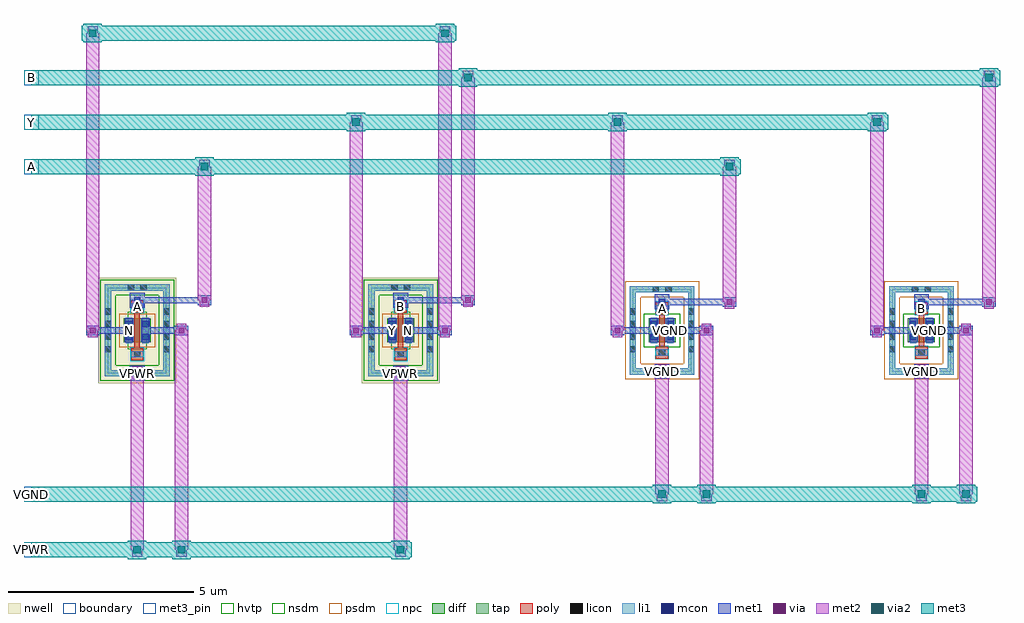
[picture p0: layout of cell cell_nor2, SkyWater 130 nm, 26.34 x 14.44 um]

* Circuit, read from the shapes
.subckt cell_nor2 A B N VGND VPWR Y
XM1 VGND A Y VGND sky130_fd_pr__nfet_01v8 w=0.65 l=0.15
XM2 VGND B Y VGND sky130_fd_pr__nfet_01v8 w=0.65 l=0.15
XM3 VPWR A N VPWR sky130_fd_pr__pfet_01v8_hvt w=0.65 l=0.15
XM4 N B Y VPWR sky130_fd_pr__pfet_01v8_hvt w=0.65 l=0.15
.ends

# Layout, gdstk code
import gdstk
lib = gdstk.Library(unit=1e-6, precision=1e-09)
def R(c, l, rs):  # rectangles x0, y0, x1, y1
    for r in rs: c.add(gdstk.rectangle(r[:2], r[2:], *l))
def A(c, l, x, y, w, h, nx, ny, dx, dy):  # array of equal rectangles
    R(c, l, [(x+i*dx, y+j*dy, x+i*dx+w, y+j*dy+h) for i in range(nx) for j in range(ny)])
nwell = (64, 20)
diff = (65, 20)
tap = (65, 44)
poly = (66, 20)
licon = (66, 44)
li1 = (67, 20)
mcon = (67, 44)
met1 = (68, 20)
via = (68, 44)
met2 = (69, 20)
via2 = (69, 44)
met3_pin = (70, 16)
met3 = (70, 20)
hvtp = (78, 44)
nsdm = (93, 44)
psdm = (94, 20)
npc = (95, 20)
boundary = (235, 4)

cell_nor2 = lib.new_cell('cell_nor2')
R(cell_nor2, nwell, [(0,-1.42,2.11,1.42), (7.11,-1.42,9.22,1.42)])
R(cell_nor2, diff, [(0.69,-0.325,1.42,0.325), (7.8,-0.325,8.53,0.325), (14.855,-0.325,15.585,0.325), (21.855,-0.325,22.585,0.325)])
R(cell_nor2, tap, [(0.18,-1.24,1.93,-1.07), (7.29,-1.24,9.04,-1.07), (14.345,-1.195,16.095,-1.025), (21.345,-1.195,23.095,-1.025), (0.18,-1.07,0.35,1.07), (1.76,-1.07,1.93,1.07), (7.29,-1.07,7.46,1.07), (8.87,-1.07,9.04,1.07), (14.345,-1.025,14.515,1.025), (15.925,-1.025,16.095,1.025), (21.345,-1.025,21.515,1.025), (22.925,-1.025,23.095,1.025), (14.345,1.025,16.095,1.195), (21.345,1.025,23.095,1.195), (0.18,1.07,1.93,1.24), (7.29,1.07,9.04,1.24)])
R(cell_nor2, poly, [(0.89,-0.81,1.22,-0.48), (8,-0.81,8.33,-0.48), (15.055,-0.765,15.385,-0.435), (22.055,-0.765,22.385,-0.435), (0.98,-0.48,1.13,0.48), (8.09,-0.48,8.24,0.48), (15.145,-0.435,15.295,0.435), (22.145,-0.435,22.295,0.435), (15.055,0.435,15.385,0.765), (22.055,0.435,22.385,0.765), (0.89,0.48,1.22,0.81), (8,0.48,8.33,0.81)])
A(cell_nor2, licon, 0.18, -0.595, 0.17, 0.17, 1, 4, 0, 0.34)
A(cell_nor2, licon, 1.76, -0.595, 0.17, 0.17, 1, 4, 0, 0.34)
A(cell_nor2, licon, 7.29, -0.595, 0.17, 0.17, 1, 4, 0, 0.34)
A(cell_nor2, licon, 8.87, -0.595, 0.17, 0.17, 1, 4, 0, 0.34)
A(cell_nor2, licon, 14.345, -0.595, 0.17, 0.17, 1, 4, 0, 0.34)
A(cell_nor2, licon, 15.925, -0.595, 0.17, 0.17, 1, 4, 0, 0.34)
A(cell_nor2, licon, 21.345, -0.595, 0.17, 0.17, 1, 4, 0, 0.34)
A(cell_nor2, licon, 22.925, -0.595, 0.17, 0.17, 1, 4, 0, 0.34)
R(cell_nor2, licon, [(0.8,-1.24,0.97,-1.07), (1.14,-1.24,1.31,-1.07), (7.91,-1.24,8.08,-1.07), (8.25,-1.24,8.42,-1.07), (14.965,-1.195,15.135,-1.025), (15.305,-1.195,15.475,-1.025), (21.965,-1.195,22.135,-1.025), (22.305,-1.195,22.475,-1.025), (0.97,-0.73,1.14,-0.56), (8.08,-0.73,8.25,-0.56), (15.135,-0.685,15.305,-0.515), (22.135,-0.685,22.305,-0.515), (0.75,-0.255,0.92,-0.085), (1.19,-0.255,1.36,-0.085), (7.86,-0.255,8.03,-0.085), (8.3,-0.255,8.47,-0.085), (14.915,-0.255,15.085,-0.085), (15.355,-0.255,15.525,-0.085), (21.915,-0.255,22.085,-0.085), (22.355,-0.255,22.525,-0.085), (0.75,0.085,0.92,0.255), (1.19,0.085,1.36,0.255), (7.86,0.085,8.03,0.255), (8.3,0.085,8.47,0.255), (14.915,0.085,15.085,0.255), (15.355,0.085,15.525,0.255), (21.915,0.085,22.085,0.255), (22.355,0.085,22.525,0.255), (15.135,0.515,15.305,0.685), (22.135,0.515,22.305,0.685), (0.97,0.56,1.14,0.73), (8.08,0.56,8.25,0.73), (14.965,1.025,15.135,1.195), (15.305,1.025,15.475,1.195), (21.965,1.025,22.135,1.195), (22.305,1.025,22.475,1.195), (0.8,1.07,0.97,1.24), (1.14,1.07,1.31,1.24), (7.91,1.07,8.08,1.24), (8.25,1.07,8.42,1.24)])
R(cell_nor2, li1, [(0.18,-1.24,1.93,-1.07), (7.29,-1.24,9.04,-1.07), (14.345,-1.195,16.095,-1.025), (21.345,-1.195,23.095,-1.025), (0.18,-1.07,0.35,1.07), (1.76,-1.07,1.93,1.07), (7.29,-1.07,7.46,1.07), (8.87,-1.07,9.04,1.07), (14.345,-1.025,14.515,1.025), (15.925,-1.025,16.095,1.025), (21.345,-1.025,21.515,1.025), (22.925,-1.025,23.095,1.025), (0.89,-0.73,1.22,-0.56), (8,-0.73,8.33,-0.56), (15.055,-0.685,15.385,-0.515), (22.055,-0.685,22.385,-0.515), (0.75,-0.345,0.92,0.345), (1.19,-0.345,1.36,0.345), (7.86,-0.345,8.03,0.345), (8.3,-0.345,8.47,0.345), (14.915,-0.345,15.085,0.345), (15.355,-0.345,15.525,0.345), (21.915,-0.345,22.085,0.345), (22.355,-0.345,22.525,0.345), (15.055,0.515,15.385,0.685), (15.135,0.515,15.305,0.855), (22.055,0.515,22.385,0.685), (22.135,0.515,22.305,0.855), (0.89,0.56,1.22,0.73), (0.97,0.56,1.14,0.9), (8,0.56,8.33,0.73), (8.08,0.56,8.25,0.9), (14.345,1.025,16.095,1.195), (21.345,1.025,23.095,1.195), (0.18,1.07,1.93,1.24), (7.29,1.07,9.04,1.24)])
R(cell_nor2, mcon, [(0.97,-1.24,1.14,-1.07), (8.08,-1.24,8.25,-1.07), (15.135,-1.195,15.305,-1.025), (22.135,-1.195,22.305,-1.025), (0.75,-0.265,0.92,-0.095), (1.19,-0.265,1.36,-0.095), (7.86,-0.265,8.03,-0.095), (8.3,-0.265,8.47,-0.095), (14.915,-0.265,15.085,-0.095), (15.355,-0.265,15.525,-0.095), (21.915,-0.265,22.085,-0.095), (22.355,-0.265,22.525,-0.095), (0.75,0.095,0.92,0.265), (1.19,0.095,1.36,0.265), (7.86,0.095,8.03,0.265), (8.3,0.095,8.47,0.265), (14.915,0.095,15.085,0.265), (15.355,0.095,15.525,0.265), (21.915,0.095,22.085,0.265), (22.355,0.095,22.525,0.265), (15.135,0.685,15.305,0.855), (22.135,0.685,22.305,0.855), (0.97,0.73,1.14,0.9), (8.08,0.73,8.25,0.9)])
R(cell_nor2, met1, [(0.855,-1.355,1.255,-0.955), (7.965,-1.355,8.365,-0.955), (15.02,-1.31,15.42,-0.91), (22.02,-1.31,22.42,-0.91), (0.875,-1.285,1.235,-1.025), (7.985,-1.285,8.345,-1.025), (15.04,-1.24,15.4,-0.98), (22.04,-1.24,22.4,-0.98), (0.72,-0.325,0.95,0.325), (1.16,-0.325,1.39,0.325), (7.83,-0.325,8.06,0.325), (8.27,-0.325,8.5,0.325), (14.885,-0.325,15.115,0.325), (15.325,-0.325,15.555,0.325), (21.885,-0.325,22.115,0.325), (22.325,-0.325,22.555,0.325), (-0.325,-0.13,0.035,0.13), (2.075,-0.13,2.435,0.13), (6.785,-0.13,7.145,0.13), (9.185,-0.13,9.545,0.13), (13.84,-0.13,14.2,0.13), (16.24,-0.13,16.6,0.13), (20.84,-0.13,21.2,0.13), (23.24,-0.13,23.6,0.13), (15.02,0.57,15.42,0.97), (22.02,0.57,22.42,0.97), (0.855,0.615,1.255,1.015), (7.965,0.615,8.365,1.015), (16.86,0.64,17.22,0.9), (23.86,0.64,24.22,0.9), (2.695,0.685,3.055,0.945), (9.805,0.685,10.165,0.945)])
R(cell_nor2, via, [(0.98,-1.23,1.13,-1.08), (8.09,-1.23,8.24,-1.08), (15.145,-1.185,15.295,-1.035), (22.145,-1.185,22.295,-1.035), (-0.22,-0.075,-0.07,0.075), (2.18,-0.075,2.33,0.075), (6.89,-0.075,7.04,0.075), (9.29,-0.075,9.44,0.075), (13.945,-0.075,14.095,0.075), (16.345,-0.075,16.495,0.075), (20.945,-0.075,21.095,0.075), (23.345,-0.075,23.495,0.075), (16.965,0.695,17.115,0.845), (23.965,0.695,24.115,0.845), (2.8,0.74,2.95,0.89), (9.91,0.74,10.06,0.89)])
R(cell_nor2, met2, [(0.915,-6.11,1.195,-5.73), (2.115,-6.11,2.395,-5.73), (8.025,-6.11,8.305,-5.73), (15.08,-4.61,15.36,-4.23), (16.28,-4.61,16.56,-4.23), (22.08,-4.61,22.36,-4.23), (23.28,-4.61,23.56,-4.23), (0.925,-1.335,1.185,-0.975), (8.035,-1.335,8.295,-0.975), (15.09,-1.29,15.35,-0.93), (22.09,-1.29,22.35,-0.93), (-0.275,-0.18,-0.015,0.18), (2.125,-0.18,2.385,0.18), (6.835,-0.18,7.095,0.18), (9.235,-0.18,9.495,0.18), (13.89,-0.18,14.15,0.18), (16.29,-0.18,16.55,0.18), (20.89,-0.18,21.15,0.18), (23.29,-0.18,23.55,0.18), (16.91,0.59,17.17,0.95), (23.91,0.59,24.17,0.95), (2.745,0.635,3.005,0.995), (9.855,0.635,10.115,0.995), (2.735,4.23,3.015,4.61), (16.9,4.23,17.18,4.61), (6.825,5.43,7.105,5.81), (13.88,5.43,14.16,5.81), (20.88,5.43,21.16,5.81), (9.845,6.63,10.125,7.01), (23.9,6.63,24.18,7.01), (-0.285,7.83,-0.005,8.21), (9.225,7.83,9.505,8.21)])
R(cell_nor2, via2, [(0.955,-6.02,1.155,-5.82), (2.155,-6.02,2.355,-5.82), (8.065,-6.02,8.265,-5.82), (15.12,-4.52,15.32,-4.32), (16.32,-4.52,16.52,-4.32), (22.12,-4.52,22.32,-4.32), (23.32,-4.52,23.52,-4.32), (2.775,4.32,2.975,4.52), (16.94,4.32,17.14,4.52), (6.865,5.52,7.065,5.72), (13.92,5.52,14.12,5.72), (20.92,5.52,21.12,5.72), (9.885,6.72,10.085,6.92), (23.94,6.72,24.14,6.92), (-0.245,7.92,-0.045,8.12), (9.265,7.92,9.465,8.12)])
A(cell_nor2, met3_pin, -2, 4.22, 0.4, 0.4, 1, 3, 0, 1.2)
R(cell_nor2, met3_pin, [(-2,-6.12,-1.6,-5.72), (-2,-4.62,-1.6,-4.22)])
R(cell_nor2, met3, [(0.805,-6.17,1.305,-5.67), (2.005,-6.17,2.505,-5.67), (7.915,-6.17,8.415,-5.67), (14.97,-4.67,15.47,-4.17), (16.17,-4.67,16.67,-4.17), (21.97,-4.67,22.47,-4.17), (23.17,-4.67,23.67,-4.17), (2.625,4.17,3.125,4.67), (16.79,4.17,17.29,4.67), (6.715,5.37,7.215,5.87), (13.77,5.37,14.27,5.87), (20.77,5.37,21.27,5.87), (9.735,6.57,10.235,7.07), (23.79,6.57,24.29,7.07), (-0.395,7.77,0.105,8.27), (9.115,7.77,9.615,8.27)])
R(cell_nor2, hvtp, [(0.8,-0.505,1.31,0.505), (7.91,-0.505,8.42,0.505)])
R(cell_nor2, nsdm, [(0.055,-1.365,2.055,-0.945), (7.165,-1.365,9.165,-0.945), (0.055,-0.945,0.475,0.945), (1.635,-0.945,2.055,0.945), (7.165,-0.945,7.585,0.945), (8.745,-0.945,9.165,0.945), (14.73,-0.45,15.71,0.45), (21.73,-0.45,22.71,0.45), (0.055,0.945,2.055,1.365), (7.165,0.945,9.165,1.365)])
R(cell_nor2, psdm, [(14.22,-1.32,16.22,-0.9), (21.22,-1.32,23.22,-0.9), (14.22,-0.9,14.64,0.9), (15.8,-0.9,16.22,0.9), (21.22,-0.9,21.64,0.9), (22.8,-0.9,23.22,0.9), (0.565,-0.45,1.545,0.45), (7.675,-0.45,8.655,0.45), (14.22,0.9,16.22,1.32), (21.22,0.9,23.22,1.32)])
R(cell_nor2, npc, [(0.87,-0.83,1.24,-0.46), (7.98,-0.83,8.35,-0.46), (15.035,-0.785,15.405,-0.415), (22.035,-0.785,22.405,-0.415), (15.035,0.415,15.405,0.785), (22.035,0.415,22.405,0.785), (0.87,0.46,1.24,0.83), (7.98,0.46,8.35,0.83)])
R(cell_nor2, boundary, [(0.265,-1.155,1.845,1.155), (7.375,-1.155,8.955,1.155), (14.43,-1.11,16.01,1.11), (21.43,-1.11,23.01,1.11)])
cell_nor2.add(gdstk.FlexPath([(22,0),(21.02,0)], 0.17, ends="flush", simple_path=True, layer=68, datatype=20))  # met1
cell_nor2.add(gdstk.FlexPath([(15.44,0),(16.42,0)], 0.17, ends="flush", simple_path=True, layer=68, datatype=20))  # met1
cell_nor2.add(gdstk.FlexPath([(1.055,0.815),(2.875,0.815)], 0.17, ends="flush", simple_path=True, layer=68, datatype=20))  # met1
cell_nor2.add(gdstk.FlexPath([(22.22,-1.11),(22.22,-1.11)], 0.17, ends="flush", simple_path=True, layer=68, datatype=20))  # met1
cell_nor2.add(gdstk.FlexPath([(22.22,0.77),(24.04,0.77)], 0.17, ends="flush", simple_path=True, layer=68, datatype=20))  # met1
cell_nor2.add(gdstk.FlexPath([(22.44,0),(23.42,0)], 0.17, ends="flush", simple_path=True, layer=68, datatype=20))  # met1
cell_nor2.add(gdstk.FlexPath([(0.835,0),(-0.145,0)], 0.17, ends="flush", simple_path=True, layer=68, datatype=20))  # met1
cell_nor2.add(gdstk.FlexPath([(1.275,0),(2.255,0)], 0.17, ends="flush", simple_path=True, layer=68, datatype=20))  # met1
cell_nor2.add(gdstk.FlexPath([(15,0),(14.02,0)], 0.17, ends="flush", simple_path=True, layer=68, datatype=20))  # met1
cell_nor2.add(gdstk.FlexPath([(15.22,0.77),(17.04,0.77)], 0.17, ends="flush", simple_path=True, layer=68, datatype=20))  # met1
cell_nor2.add(gdstk.FlexPath([(1.055,-1.155),(1.055,-1.155)], 0.17, ends="flush", simple_path=True, layer=68, datatype=20))  # met1
cell_nor2.add(gdstk.FlexPath([(7.945,0),(6.965,0)], 0.17, ends="flush", simple_path=True, layer=68, datatype=20))  # met1
cell_nor2.add(gdstk.FlexPath([(8.165,0.815),(9.985,0.815)], 0.17, ends="flush", simple_path=True, layer=68, datatype=20))  # met1
cell_nor2.add(gdstk.FlexPath([(15.22,-1.11),(15.22,-1.11)], 0.17, ends="flush", simple_path=True, layer=68, datatype=20))  # met1
cell_nor2.add(gdstk.FlexPath([(8.385,0),(9.365,0)], 0.17, ends="flush", simple_path=True, layer=68, datatype=20))  # met1
cell_nor2.add(gdstk.FlexPath([(8.165,-1.155),(8.165,-1.155)], 0.17, ends="flush", simple_path=True, layer=68, datatype=20))  # met1
cell_nor2.add(gdstk.FlexPath([(17.04,0.77),(17.04,4.42)], 0.36, ends="flush", simple_path=True, layer=69, datatype=20))  # met2
cell_nor2.add(gdstk.FlexPath([(21.02,0),(21.02,5.62)], 0.36, ends="flush", simple_path=True, layer=69, datatype=20))  # met2
cell_nor2.add(gdstk.FlexPath([(15.22,-1.11),(15.22,-4.42)], 0.36, ends="flush", simple_path=True, layer=69, datatype=20))  # met2
cell_nor2.add(gdstk.FlexPath([(22.22,-1.11),(22.22,-4.42)], 0.36, ends="flush", simple_path=True, layer=69, datatype=20))  # met2
cell_nor2.add(gdstk.FlexPath([(6.965,0),(6.965,5.62)], 0.36, ends="flush", simple_path=True, layer=69, datatype=20))  # met2
cell_nor2.add(gdstk.FlexPath([(16.42,0),(16.42,-4.42)], 0.36, ends="flush", simple_path=True, layer=69, datatype=20))  # met2
cell_nor2.add(gdstk.FlexPath([(9.985,0.815),(9.985,6.82)], 0.36, ends="flush", simple_path=True, layer=69, datatype=20))  # met2
cell_nor2.add(gdstk.FlexPath([(24.04,0.77),(24.04,6.82)], 0.36, ends="flush", simple_path=True, layer=69, datatype=20))  # met2
cell_nor2.add(gdstk.FlexPath([(2.875,0.815),(2.875,4.42)], 0.36, ends="flush", simple_path=True, layer=69, datatype=20))  # met2
cell_nor2.add(gdstk.FlexPath([(1.055,-1.155),(1.055,-5.92)], 0.36, ends="flush", simple_path=True, layer=69, datatype=20))  # met2
cell_nor2.add(gdstk.FlexPath([(2.255,0),(2.255,-5.92)], 0.36, ends="flush", simple_path=True, layer=69, datatype=20))  # met2
cell_nor2.add(gdstk.FlexPath([(23.42,0),(23.42,-4.42)], 0.36, ends="flush", simple_path=True, layer=69, datatype=20))  # met2
cell_nor2.add(gdstk.FlexPath([(9.365,0),(9.365,8.02)], 0.36, ends="flush", simple_path=True, layer=69, datatype=20))  # met2
cell_nor2.add(gdstk.FlexPath([(-0.145,0),(-0.145,8.02)], 0.36, ends="flush", simple_path=True, layer=69, datatype=20))  # met2
cell_nor2.add(gdstk.FlexPath([(8.165,-1.155),(8.165,-5.92)], 0.36, ends="flush", simple_path=True, layer=69, datatype=20))  # met2
cell_nor2.add(gdstk.FlexPath([(14.02,0),(14.02,5.62)], 0.36, ends="flush", simple_path=True, layer=69, datatype=20))  # met2
cell_nor2.add(gdstk.FlexPath([(-1.8,4.42),(17.34,4.42)], 0.4, ends="flush", simple_path=True, layer=70, datatype=20))  # met3
cell_nor2.add(gdstk.FlexPath([(-1.8,5.62),(21.32,5.62)], 0.4, ends="flush", simple_path=True, layer=70, datatype=20))  # met3
cell_nor2.add(gdstk.FlexPath([(-1.8,6.82),(24.34,6.82)], 0.4, ends="flush", simple_path=True, layer=70, datatype=20))  # met3
cell_nor2.add(gdstk.FlexPath([(-0.445,8.02),(9.665,8.02)], 0.4, ends="flush", simple_path=True, layer=70, datatype=20))  # met3
cell_nor2.add(gdstk.FlexPath([(-1.8,-4.42),(23.72,-4.42)], 0.4, ends="flush", simple_path=True, layer=70, datatype=20))  # met3
cell_nor2.add(gdstk.FlexPath([(-1.8,-5.92),(8.465,-5.92)], 0.4, ends="flush", simple_path=True, layer=70, datatype=20))  # met3
cell_nor2.add(gdstk.Label('A', (15.22,0.6), layer=67, texttype=5))
cell_nor2.add(gdstk.Label('VGND', (15.44,0), layer=67, texttype=5))
cell_nor2.add(gdstk.Label('VGND', (22.44,0), layer=67, texttype=5))
cell_nor2.add(gdstk.Label('VPWR', (1.055,-1.155), layer=67, texttype=5))
cell_nor2.add(gdstk.Label('N', (0.835,0), layer=67, texttype=5))
cell_nor2.add(gdstk.Label('VGND', (15.22,-1.11), layer=67, texttype=5))
cell_nor2.add(gdstk.Label('VPWR', (1.275,0), layer=67, texttype=5))
cell_nor2.add(gdstk.Label('A', (1.055,0.645), layer=67, texttype=5))
cell_nor2.add(gdstk.Label('Y', (22,0), layer=67, texttype=5))
cell_nor2.add(gdstk.Label('Y', (7.945,0), layer=67, texttype=5))
cell_nor2.add(gdstk.Label('VPWR', (8.165,-1.155), layer=67, texttype=5))
cell_nor2.add(gdstk.Label('Y', (15,0), layer=67, texttype=5))
cell_nor2.add(gdstk.Label('VGND', (22.22,-1.11), layer=67, texttype=5))
cell_nor2.add(gdstk.Label('N', (8.385,0), layer=67, texttype=5))
cell_nor2.add(gdstk.Label('B', (8.165,0.645), layer=67, texttype=5))
cell_nor2.add(gdstk.Label('B', (22.22,0.6), layer=67, texttype=5))
cell_nor2.add(gdstk.Label('A', (-1.8,4.42), layer=70, texttype=5))
cell_nor2.add(gdstk.Label('Y', (-1.8,5.62), layer=70, texttype=5))
cell_nor2.add(gdstk.Label('B', (-1.8,6.82), layer=70, texttype=5))
cell_nor2.add(gdstk.Label('VPWR', (-1.8,-5.92), layer=70, texttype=5))
cell_nor2.add(gdstk.Label('VGND', (-1.8,-4.42), layer=70, texttype=5))

lib.write_gds('cell_nor2.gds')
